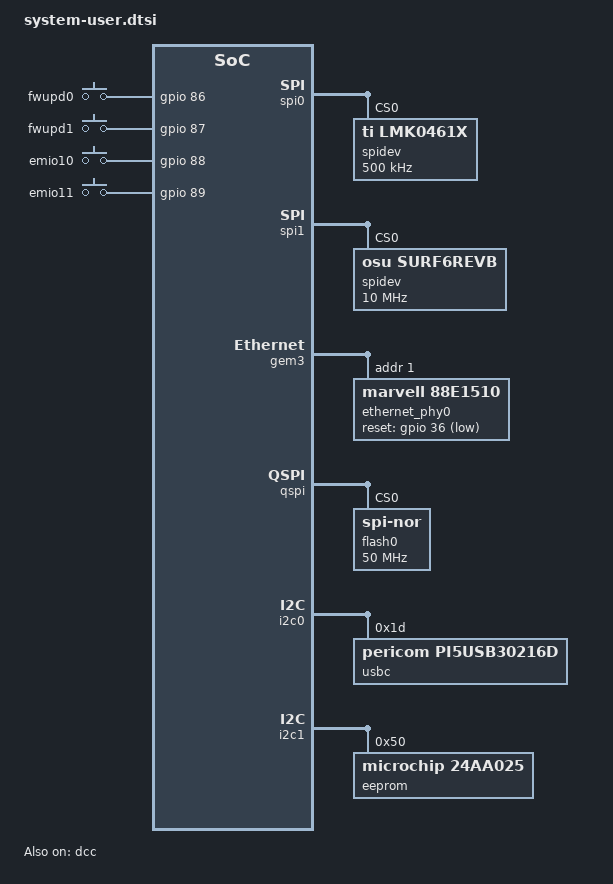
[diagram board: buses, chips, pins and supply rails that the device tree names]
/include/ "system-conf.dtsi"
/ {
   reserved-memory {
     #address-cells = <2>;
     #size-cells = <2>;
     ranges;

     reserved: buffer@0x70000000 {
        no-map;
	reg = <0x0 0x70000000 0x0 0x100000 >;
     };
   };
   reserved-driver@0 {
     compatible = "xlnx,reserved-memory";
     memory-region = <&reserved>;
   };

   gpio-keys {
   	compatible = "gpio-keys";
	#address-cells = <1>;
	#size-cells = <0>;
	fwupd0 {
	       label = "fwupd0";
	       gpios = <&gpio 86 0>;
	       linux,code = <30>; /* A */
	       gpio-key,wakeup;
	};
	fwupd1 {
	       label = "fwupd1";
	       gpios = <&gpio 87 0>;
	       linux,code = <31>; /* B */
	       gpio-key,wakeup;
	};
	emio10 {
	       label = "emio10";
	       gpios = <&gpio 88 0>;
	       linux,code = <32>; /* C */
	       gpio-key,wakeup;
	};
	emio11 {
	       label = "emio11";
	       gpios = <&gpio 89 0>;
	       linux,code = <33>; /* D */
	       gpio-key,wakeup;
	};
   };
};

#include "include/dt-bindings/phy/phy.h"
#include "include/dt-bindings/gpio/gpio.h"

&sdhci1 {
	disable-wp;
	no-1-8-v;
};

&sdhci0 {
	disable-wp;
	no-1-8-v;
};

&spi0 {
      spidev@0 {
      	       compatible = "ti,lmk0461x";
	       reg = <0>;
	       num_bytes = <3>;
	       spi-max-frequency = <500000>;
      };
};

&spi1 {
      spidev@0 {
      	       compatible = "osu,surf6revB";
	       reg = <0>;
	       num_bytes = <7>;
	       spi-max-frequency = <10000000>;
      };
};

&gem3 {
      status = "okay";
      ethernet_phy0: ethernet-phy@0 {
      		     compatible = "marvell,88e1510";
		     device_type = "ethernet-phy";
		     reset-gpios = <&gpio 36 GPIO_ACTIVE_LOW>;
		     reset-assert-us = <15000>;
		     reset-deassert-us = <15000>;
		     reg = <1>;
      };
};

&qspi {
      u-boot,dm-pre-reloc;
      #address-cells = <1>;
      #size-cells = <0>;
      status = "okay";
      is-dual = <1>;
      is-stacked = <0>;
      num-cs = <2>;
      has-io-mode = <1>;
      qspi-mode = <1>;      
      flash0: flash@0 {
              compatible = "jedec,spi-nor";
              reg = <0x0>;
              #address-cells = <1>;
              #size-cells = <1>;
              spi-tx-bus-width = <1>;
              spi-rx-bus-width = <4>;
              spi-max-frequency = <50000000>;
              parallel-memories = /bits/ 64 <0x4000000 0x4000000>; /* 128 MB */	      
      };
};

&i2c0 {
      usbc: usbc@1D {
      	    compatible = "pericom,pi5usb30216d";
	    reg = <0x1D>;
      };
};      

&i2c1 {
      eeprom: eeprom@50 {
      	      compatible = "microchip,24aa025", "atmel,24c02";
	      reg = <0x50>;
      };
};

&dcc {
     status = "okay";
};

